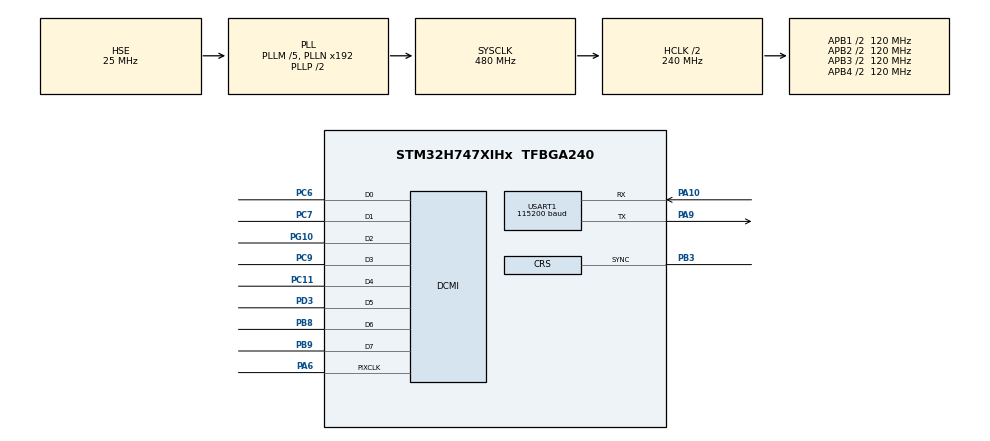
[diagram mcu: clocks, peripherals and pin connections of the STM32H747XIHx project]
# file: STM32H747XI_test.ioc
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CortexM4.IPs=CORTEX_M4\:I,DEBUG,FATFS_M4\:I,FREERTOS_M4\:I,IWDG2\:I,OPENAMP_M4\:I,PDM2PCM_M4\:I,PWR,RCC,RESMGR_UTILITY,SYS_M4\:I,USB_DEVICE_M4\:I,USB_HOST_M4\:I,VREFBUF,WWDG2\:I,DMA,BDMA,MDMA,NVIC2\:I
CortexM7.IPs=CORTEX_M7\:I,DEBUG\:I,FATFS_M7\:I,FREERTOS_M7\:I,IWDG1\:I,OPENAMP_M7\:I,PDM2PCM_M7\:I,PWR\:I,RCC\:I,RESMGR_UTILITY\:I,SYS\:I,USB_DEVICE_M7\:I,USB_HOST_M7\:I,VREFBUF\:I,WWDG1\:I,DMA\:I,BDMA\:I,MDMA\:I,NVIC1\:I,DCMI\:I,TIM14\:I,USART1\:I
DCMI.FrameEndCode=0xFF
DCMI.FrameStartCode=0xFF
DCMI.JPEGMode=DCMI_JPEG_DISABLE
DCMI.LineEndCode=0xDA
DCMI.LineStartCode=0xC7
DCMI.PCKPolarity=DCMI_PCKPOLARITY_RISING
Dma.DCMI.0.Direction=DMA_PERIPH_TO_MEMORY
Dma.DCMI.0.EventEnable=ENABLE
Dma.DCMI.0.FIFOMode=DMA_FIFOMODE_ENABLE
Dma.DCMI.0.FIFOThreshold=DMA_FIFO_THRESHOLD_FULL
Dma.DCMI.0.Instance=DMA1_Stream0
Dma.DCMI.0.MemBurst=DMA_MBURST_INC4
Dma.DCMI.0.MemDataAlignment=DMA_MDATAALIGN_WORD
Dma.DCMI.0.MemInc=DMA_MINC_ENABLE
Dma.DCMI.0.Mode=DMA_CIRCULAR
Dma.DCMI.0.PeriphBurst=DMA_PBURST_SINGLE
Dma.DCMI.0.PeriphDataAlignment=DMA_PDATAALIGN_WORD
Dma.DCMI.0.PeriphInc=DMA_PINC_DISABLE
Dma.DCMI.0.Polarity=HAL_DMAMUX_REQ_GEN_RISING
Dma.DCMI.0.Priority=DMA_PRIORITY_LOW
Dma.DCMI.0.RequestNumber=1
Dma.DCMI.0.SignalID=NONE
Dma.DCMI.0.SyncEnable=DISABLE
Dma.DCMI.0.SyncPolarity=HAL_DMAMUX_SYNC_NO_EVENT
Dma.DCMI.0.SyncRequestNumber=1
Dma.DCMI.0.SyncSignalID=NONE
Dma.Request0=DCMI
Dma.Request1=USART1_RX
Dma.USART1_RX.1.Direction=DMA_PERIPH_TO_MEMORY
Dma.USART1_RX.1.EventEnable=DISABLE
Dma.USART1_RX.1.FIFOMode=DMA_FIFOMODE_ENABLE
Dma.USART1_RX.1.FIFOThreshold=DMA_FIFO_THRESHOLD_FULL
Dma.USART1_RX.1.Instance=DMA1_Stream1
Dma.USART1_RX.1.MemBurst=DMA_MBURST_SINGLE
Dma.USART1_RX.1.MemDataAlignment=DMA_MDATAALIGN_BYTE
Dma.USART1_RX.1.MemInc=DMA_MINC_ENABLE
Dma.USART1_RX.1.Mode=DMA_NORMAL
Dma.USART1_RX.1.PeriphBurst=DMA_PBURST_SINGLE
Dma.USART1_RX.1.PeriphDataAlignment=DMA_PDATAALIGN_BYTE
Dma.USART1_RX.1.PeriphInc=DMA_PINC_DISABLE
Dma.USART1_RX.1.Polarity=HAL_DMAMUX_REQ_GEN_RISING
Dma.USART1_RX.1.Priority=DMA_PRIORITY_MEDIUM
Dma.USART1_RX.1.RequestNumber=1
Dma.USART1_RX.1.SignalID=NONE
Dma.USART1_RX.1.SyncEnable=DISABLE
Dma.USART1_RX.1.SyncPolarity=HAL_DMAMUX_SYNC_NO_EVENT
Dma.USART1_RX.1.SyncRequestNumber=1
Dma.USART1_RX.1.SyncSignalID=NONE
Mcu.Family=STM32H7
Mcu.Name=STM32H747XIHx
Mcu.Package=TFBGA240
NVIC1.DCMI_IRQn=true\:0\:0\:false\:false\:true\:true\:true
NVIC1.DMA1_Stream0_IRQn=true\:0\:0\:false\:false\:true\:false\:true
NVIC1.DMA1_Stream1_IRQn=true\:0\:0\:false\:false\:true\:false\:true
NVIC1.PriorityGroup=NVIC_PRIORITYGROUP_4
NVIC1.TIM8_TRG_COM_TIM14_IRQn=true\:0\:0\:false\:false\:true\:true\:true
NVIC2.PriorityGroup=NVIC_PRIORITYGROUP_4
PA10.Mode=Asynchronous
PA10.PinAttribute=CortexM7
PA10.Signal=USART1_RX
PA13\ (JTMS/SWDIO).Mode=Serial_Wire
PA13\ (JTMS/SWDIO).PinAttribute=CortexM7
PA13\ (JTMS/SWDIO).Signal=DEBUG_JTMS-SWDIO
PA14\ (JTCK/SWCLK).Mode=Serial_Wire
PA14\ (JTCK/SWCLK).PinAttribute=CortexM7
PA14\ (JTCK/SWCLK).Signal=DEBUG_JTCK-SWCLK
PA6.Mode=Slave_8_bits_Embedded_Synchro
PA6.PinAttribute=CortexM7
PA6.Signal=DCMI_PIXCLK
PA9.Mode=Asynchronous
PA9.PinAttribute=CortexM7
PA9.Signal=USART1_TX
PB3\ (JTDO/TRACESWO).Mode=CRS SYNC Source GPIO
PB3\ (JTDO/TRACESWO).PinAttribute=CortexM7
PB3\ (JTDO/TRACESWO).Signal=CRS_SYNC
PB8.Mode=Slave_8_bits_Embedded_Synchro
PB8.PinAttribute=CortexM7
PB8.Signal=DCMI_D6
PB9.Mode=Slave_8_bits_Embedded_Synchro
PB9.PinAttribute=CortexM7
PB9.Signal=DCMI_D7
PC11.Mode=Slave_8_bits_Embedded_Synchro
PC11.PinAttribute=CortexM7
PC11.Signal=DCMI_D4
PC6.Mode=Slave_8_bits_Embedded_Synchro
PC6.PinAttribute=CortexM7
PC6.Signal=DCMI_D0
PC7.Mode=Slave_8_bits_Embedded_Synchro
PC7.PinAttribute=CortexM7
PC7.Signal=DCMI_D1
PC9.Mode=Slave_8_bits_Embedded_Synchro
PC9.PinAttribute=CortexM7
PC9.Signal=DCMI_D3
PD3.Mode=Slave_8_bits_Embedded_Synchro
PD3.PinAttribute=CortexM7
PD3.Signal=DCMI_D5
PG10.Mode=Slave_8_bits_Embedded_Synchro
PG10.PinAttribute=CortexM7
PG10.Signal=DCMI_D2
PH0-OSC_IN\ (PH0).Mode=HSE-External-Clock-Source
PH0-OSC_IN\ (PH0).PinAttribute=CortexM7
PH0-OSC_IN\ (PH0).Signal=RCC_OSC_IN
ProjectManager.HeapSize=0x200
ProjectManager.StackSize=0x400
ProjectManager.TargetToolchain=MDK-ARM V5.27
RCC.ADCFreq_Value=50390625
RCC.APB1Freq_Value=120000000
RCC.APB2Freq_Value=120000000
RCC.APB3Freq_Value=120000000
RCC.APB4Freq_Value=120000000
RCC.CortexFreq_Value=480000000
RCC.D1PPRE=RCC_APB3_DIV2
RCC.D2PPRE1=RCC_APB1_DIV2
RCC.D2PPRE2=RCC_APB2_DIV2
RCC.D3PPRE=RCC_APB4_DIV2
RCC.DIVM1=5
RCC.DIVN1=192
RCC.HCLKFreq_Value=240000000
RCC.HPRE=RCC_HCLK_DIV2
RCC.PLLSourceVirtual=RCC_PLLSOURCE_HSE
RCC.SYSCLKFreq_VALUE=480000000
RCC.SYSCLKSource=RCC_SYSCLKSOURCE_PLLCLK
RCC.SupplySource=PWR_DIRECT_SMPS_SUPPLY
RCC.USBFreq_Value=480000000
SYS.userName=SYS_M7
TIM14.Channel=TIM_CHANNEL_1
TIM14.Period=999
TIM14.Prescaler=119
USART1.BaudRate=115200
USART1.VirtualMode-Asynchronous=VM_ASYNC
VP_SYS_M4_VS_Systick.Mode=SysTick
VP_TIM14_VS_ClockSourceINT.Mode=Enable_Timer
VP_TIM14_VS_no_output1.Mode=Output Compare1 No Output
board=custom

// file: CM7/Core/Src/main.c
/* USER CODE BEGIN Header */
/**
  ******************************************************************************
  * @file           : main.c
  * @brief          : Main program body
  ******************************************************************************
  * @attention
  *
  * <h2><center>&copy; Copyright (c) 2021 STMicroelectronics.
  * All rights reserved.</center></h2>
  *
  * This software component is licensed by ST under BSD 3-Clause license,
  * the "License"; You may not use this file except in compliance with the
  * License. You may obtain a copy of the License at:
  *                        opensource.org/licenses/BSD-3-Clause
  *
  ******************************************************************************
  */
/* USER CODE END Header */
#include "main.h"

/* USER CODE BEGIN PD */

#ifndef HSEM_ID_0
#define HSEM_ID_0 (0U) /* HW semaphore 0*/
#endif

#define FRAME_Address		((uint32_t)0x24000000)
#define FRAME_BufferSize	110592
/* USER CODE END PD */

DCMI_HandleTypeDef hdcmi;
DMA_HandleTypeDef hdma_dcmi;

TIM_HandleTypeDef htim14;

UART_HandleTypeDef huart1;
DMA_HandleTypeDef hdma_usart1_rx;

/* USER CODE BEGIN PV */
//float cam_frames_per_second;
//float cam_lines_per_second;
uint64_t inter_frames, inter_lines, inter_vsync;
uint64_t utick;
/* USER CODE END PV */

void SystemClock_Config(void);
static void MX_GPIO_Init(void);
static void MX_DMA_Init(void);
static void MX_DCMI_Init(void);
static void MX_TIM14_Init(void);
static void MX_USART1_UART_Init(void);
/* USER CODE BEGIN PFP */
void HAL_DCMI_LineEventCallback(DCMI_HandleTypeDef *hdcmi);
void DCMI_FrameEventCallback(DCMI_HandleTypeDef *hdcmi);
void DCMI_VsyncEventCallback(DCMI_HandleTypeDef *hdcmi);
void DCMI_ErrorCallback(DCMI_HandleTypeDef *hdcmi);

uint64_t Get_uTick(void);
void HAL_TIM_PeriodElapsedCallback(TIM_HandleTypeDef *htim);
/* USER CODE END PFP */

int main(void)
{
/* USER CODE BEGIN Boot_Mode_Sequence_0 */
  int32_t timeout;
/* USER CODE END Boot_Mode_Sequence_0 */

/* USER CODE BEGIN Boot_Mode_Sequence_1 */
  /* Wait until CPU2 boots and enters in stop mode or timeout*/
  timeout = 0xFFFF;
  while((__HAL_RCC_GET_FLAG(RCC_FLAG_D2CKRDY) != RESET) && (timeout-- > 0));
  if ( timeout < 0 )
  {
  Error_Handler();
  }
/* USER CODE END Boot_Mode_Sequence_1 */
  /* MCU Configuration--------------------------------------------------------*/

  /* Reset of all peripherals, Initializes the Flash interface and the Systick. */
  HAL_Init();

  /* Configure the system clock */
  SystemClock_Config();
/* USER CODE BEGIN Boot_Mode_Sequence_2 */
/* When system initialization is finished, Cortex-M7 will release Cortex-M4 by means of
HSEM notification */
/*HW semaphore Clock enable*/
__HAL_RCC_HSEM_CLK_ENABLE();
/*Take HSEM */
HAL_HSEM_FastTake(HSEM_ID_0);
/*Release HSEM in order to notify the CPU2(CM4)*/
HAL_HSEM_Release(HSEM_ID_0,0);
/* wait until CPU2 wakes up from stop mode */
timeout = 0xFFFF;
while((__HAL_RCC_GET_FLAG(RCC_FLAG_D2CKRDY) == RESET) && (timeout-- > 0));
if ( timeout < 0 )
{
Error_Handler();
}
/* USER CODE END Boot_Mode_Sequence_2 */

  /* Initialize all configured peripherals */
  MX_GPIO_Init();
  MX_DMA_Init();
  MX_DCMI_Init();
  MX_TIM14_Init();
  MX_USART1_UART_Init();
  /* USER CODE BEGIN 2 */
	HAL_DCMI_RegisterCallback(&hdcmi, HAL_DCMI_LINE_EVENT_CB_ID, HAL_DCMI_LineEventCallback);
	HAL_TIM_Base_Start_IT(&htim14);
	HAL_DCMI_Start_DMA(&hdcmi, DCMI_MODE_CONTINUOUS, FRAME_Address, FRAME_BufferSize);
  /* USER CODE END 2 */

  /* Infinite loop */
  while (1)
  {

  }
}

void SystemClock_Config(void)
{
  RCC_OscInitTypeDef RCC_OscInitStruct = {0};
  RCC_ClkInitTypeDef RCC_ClkInitStruct = {0};
  RCC_CRSInitTypeDef RCC_CRSInitStruct = {0};

  /** Supply configuration update enable
  */
  HAL_PWREx_ConfigSupply(PWR_DIRECT_SMPS_SUPPLY);
  /** Configure the main internal regulator output voltage
  */
  __HAL_PWR_VOLTAGESCALING_CONFIG(PWR_REGULATOR_VOLTAGE_SCALE0);

  while(!__HAL_PWR_GET_FLAG(PWR_FLAG_VOSRDY)) {}
  /** Initializes the RCC Oscillators according to the specified parameters
  * in the RCC_OscInitTypeDef structure.
  */
  RCC_OscInitStruct.OscillatorType = RCC_OSCILLATORTYPE_HSI48|RCC_OSCILLATORTYPE_HSE;
  RCC_OscInitStruct.HSEState = RCC_HSE_BYPASS;
  RCC_OscInitStruct.HSI48State = RCC_HSI48_ON;
  RCC_OscInitStruct.PLL.PLLState = RCC_PLL_ON;
  RCC_OscInitStruct.PLL.PLLSource = RCC_PLLSOURCE_HSE;
  RCC_OscInitStruct.PLL.PLLM = 5;
  RCC_OscInitStruct.PLL.PLLN = 192;
  RCC_OscInitStruct.PLL.PLLP = 2;
  RCC_OscInitStruct.PLL.PLLQ = 2;
  RCC_OscInitStruct.PLL.PLLR = 2;
  RCC_OscInitStruct.PLL.PLLRGE = RCC_PLL1VCIRANGE_2;
  RCC_OscInitStruct.PLL.PLLVCOSEL = RCC_PLL1VCOWIDE;
  RCC_OscInitStruct.PLL.PLLFRACN = 0;
  if (HAL_RCC_OscConfig(&RCC_OscInitStruct) != HAL_OK)
  {
    Error_Handler();
  }
  /** Initializes the CPU, AHB and APB buses clocks
  */
  RCC_ClkInitStruct.ClockType = RCC_CLOCKTYPE_HCLK|RCC_CLOCKTYPE_SYSCLK
                              |RCC_CLOCKTYPE_PCLK1|RCC_CLOCKTYPE_PCLK2
                              |RCC_CLOCKTYPE_D3PCLK1|RCC_CLOCKTYPE_D1PCLK1;
  RCC_ClkInitStruct.SYSCLKSource = RCC_SYSCLKSOURCE_PLLCLK;
  RCC_ClkInitStruct.SYSCLKDivider = RCC_SYSCLK_DIV1;
  RCC_ClkInitStruct.AHBCLKDivider = RCC_HCLK_DIV2;
  RCC_ClkInitStruct.APB3CLKDivider = RCC_APB3_DIV2;
  RCC_ClkInitStruct.APB1CLKDivider = RCC_APB1_DIV2;
  RCC_ClkInitStruct.APB2CLKDivider = RCC_APB2_DIV2;
  RCC_ClkInitStruct.APB4CLKDivider = RCC_APB4_DIV2;

  if (HAL_RCC_ClockConfig(&RCC_ClkInitStruct, FLASH_LATENCY_4) != HAL_OK)
  {
    Error_Handler();
  }
  /** Enable the SYSCFG APB clock
  */
  __HAL_RCC_CRS_CLK_ENABLE();
  /** Configures CRS
  */
  RCC_CRSInitStruct.Prescaler = RCC_CRS_SYNC_DIV1;
  RCC_CRSInitStruct.Source = RCC_CRS_SYNC_SOURCE_PIN;
  RCC_CRSInitStruct.Polarity = RCC_CRS_SYNC_POLARITY_RISING;
  RCC_CRSInitStruct.ReloadValue = __HAL_RCC_CRS_RELOADVALUE_CALCULATE(48000000,1);
  RCC_CRSInitStruct.ErrorLimitValue = 34;
  RCC_CRSInitStruct.HSI48CalibrationValue = 32;

  HAL_RCCEx_CRSConfig(&RCC_CRSInitStruct);
}

static void MX_DCMI_Init(void)
{

  hdcmi.Instance = DCMI;
  hdcmi.Init.SynchroMode = DCMI_SYNCHRO_EMBEDDED;
  hdcmi.Init.PCKPolarity = DCMI_PCKPOLARITY_RISING;
  hdcmi.Init.CaptureRate = DCMI_CR_ALL_FRAME;
  hdcmi.Init.ExtendedDataMode = DCMI_EXTEND_DATA_8B;
  hdcmi.Init.SyncroCode.FrameEndCode = 0xFF;
  hdcmi.Init.SyncroCode.FrameStartCode = 0xFF;
  hdcmi.Init.SyncroCode.LineStartCode = 0xC7;
  hdcmi.Init.SyncroCode.LineEndCode = 0xDA;
  hdcmi.Init.JPEGMode = DCMI_JPEG_DISABLE;
  hdcmi.Init.ByteSelectMode = DCMI_BSM_ALL;
  hdcmi.Init.ByteSelectStart = DCMI_OEBS_ODD;
  hdcmi.Init.LineSelectMode = DCMI_LSM_ALL;
  hdcmi.Init.LineSelectStart = DCMI_OELS_ODD;
  if (HAL_DCMI_Init(&hdcmi) != HAL_OK)
  {
    Error_Handler();
  }

}

static void MX_TIM14_Init(void)
{

  TIM_OC_InitTypeDef sConfigOC = {0};

  htim14.Instance = TIM14;
  htim14.Init.Prescaler = 119;
  htim14.Init.CounterMode = TIM_COUNTERMODE_UP;
  htim14.Init.Period = 999;
  htim14.Init.ClockDivision = TIM_CLOCKDIVISION_DIV1;
  htim14.Init.AutoReloadPreload = TIM_AUTORELOAD_PRELOAD_DISABLE;
  if (HAL_TIM_Base_Init(&htim14) != HAL_OK)
  {
    Error_Handler();
  }
  if (HAL_TIM_OC_Init(&htim14) != HAL_OK)
  {
    Error_Handler();
  }
  sConfigOC.OCMode = TIM_OCMODE_TIMING;
  sConfigOC.Pulse = 0;
  sConfigOC.OCPolarity = TIM_OCPOLARITY_HIGH;
  sConfigOC.OCFastMode = TIM_OCFAST_DISABLE;
  if (HAL_TIM_OC_ConfigChannel(&htim14, &sConfigOC, TIM_CHANNEL_1) != HAL_OK)
  {
    Error_Handler();
  }

}

static void MX_USART1_UART_Init(void)
{

  huart1.Instance = USART1;
  huart1.Init.BaudRate = 115200;
  huart1.Init.WordLength = UART_WORDLENGTH_8B;
  huart1.Init.StopBits = UART_STOPBITS_1;
  huart1.Init.Parity = UART_PARITY_NONE;
  huart1.Init.Mode = UART_MODE_TX_RX;
  huart1.Init.HwFlowCtl = UART_HWCONTROL_NONE;
  huart1.Init.OverSampling = UART_OVERSAMPLING_16;
  huart1.Init.OneBitSampling = UART_ONE_BIT_SAMPLE_DISABLE;
  huart1.Init.ClockPrescaler = UART_PRESCALER_DIV1;
  huart1.AdvancedInit.AdvFeatureInit = UART_ADVFEATURE_NO_INIT;
  if (HAL_UART_Init(&huart1) != HAL_OK)
  {
    Error_Handler();
  }
  if (HAL_UARTEx_SetTxFifoThreshold(&huart1, UART_TXFIFO_THRESHOLD_1_8) != HAL_OK)
  {
    Error_Handler();
  }
  if (HAL_UARTEx_SetRxFifoThreshold(&huart1, UART_RXFIFO_THRESHOLD_1_8) != HAL_OK)
  {
    Error_Handler();
  }
  if (HAL_UARTEx_DisableFifoMode(&huart1) != HAL_OK)
  {
    Error_Handler();
  }

}

static void MX_DMA_Init(void)
{

  /* DMA controller clock enable */
  __HAL_RCC_DMA1_CLK_ENABLE();

  /* DMA interrupt init */
  /* DMA1_Stream0_IRQn interrupt configuration */
  HAL_NVIC_SetPriority(DMA1_Stream0_IRQn, 0, 0);
  HAL_NVIC_EnableIRQ(DMA1_Stream0_IRQn);
  /* DMA1_Stream1_IRQn interrupt configuration */
  HAL_NVIC_SetPriority(DMA1_Stream1_IRQn, 0, 0);
  HAL_NVIC_EnableIRQ(DMA1_Stream1_IRQn);

}

static void MX_GPIO_Init(void)
{
  GPIO_InitTypeDef GPIO_InitStruct = {0};

  /* GPIO Ports Clock Enable */
  __HAL_RCC_GPIOG_CLK_ENABLE();
  __HAL_RCC_GPIOD_CLK_ENABLE();
  __HAL_RCC_GPIOC_CLK_ENABLE();
  __HAL_RCC_GPIOA_CLK_ENABLE();
  __HAL_RCC_GPIOB_CLK_ENABLE();
  __HAL_RCC_GPIOH_CLK_ENABLE();

  /*Configure GPIO pin : PB3 */
  GPIO_InitStruct.Pin = GPIO_PIN_3;
  GPIO_InitStruct.Mode = GPIO_MODE_AF_PP;
  GPIO_InitStruct.Pull = GPIO_NOPULL;
  GPIO_InitStruct.Speed = GPIO_SPEED_FREQ_LOW;
  GPIO_InitStruct.Alternate = GPIO_AF10_CRS_SYNC;
  HAL_GPIO_Init(GPIOB, &GPIO_InitStruct);

}

/* USER CODE BEGIN 4 */
void HAL_DCMI_LineEventCallback(DCMI_HandleTypeDef *hdcmi)
{
	static uint64_t last_line;
	inter_lines = (Get_uTick() - last_line);
	//cam_lines_per_second = 1000000/((float)(Get_uTick() - last_line));
	last_line = Get_uTick();
}

void HAL_DCMI_FrameEventCallback(DCMI_HandleTypeDef *hdcmi)
{
	static uint64_t last_frame;
	inter_frames = (Get_uTick() - last_frame);
	//cam_frames_per_second = 1000/((float)(HAL_GetTick() - last_frame));
	last_frame = Get_uTick();
}

void HAL_DCMI_VsyncEventCallback(DCMI_HandleTypeDef *hdcmi)
{
	static uint64_t last_vsync;
	inter_vsync = (Get_uTick() - last_vsync);
	//cam_frames_per_second = 1000/((float)(HAL_GetTick() - last_frame));
	last_vsync = Get_uTick();
}

void HAL_DCMI_ErrorCallback(DCMI_HandleTypeDef *hdcmi)
{
}

void HAL_TIM_PeriodElapsedCallback(TIM_HandleTypeDef *htim)
{
  if(htim == &htim14){
	  utick = utick + htim14.Instance->ARR;
  }
}

uint64_t Get_uTick(void){
	return (utick + htim14.Instance->ARR);
}
/* USER CODE END 4 */

void Error_Handler(void)
{
  __disable_irq();
  while (1)
  {
  }
}

/************************ (C) COPYRIGHT STMicroelectronics *****END OF FILE****/
